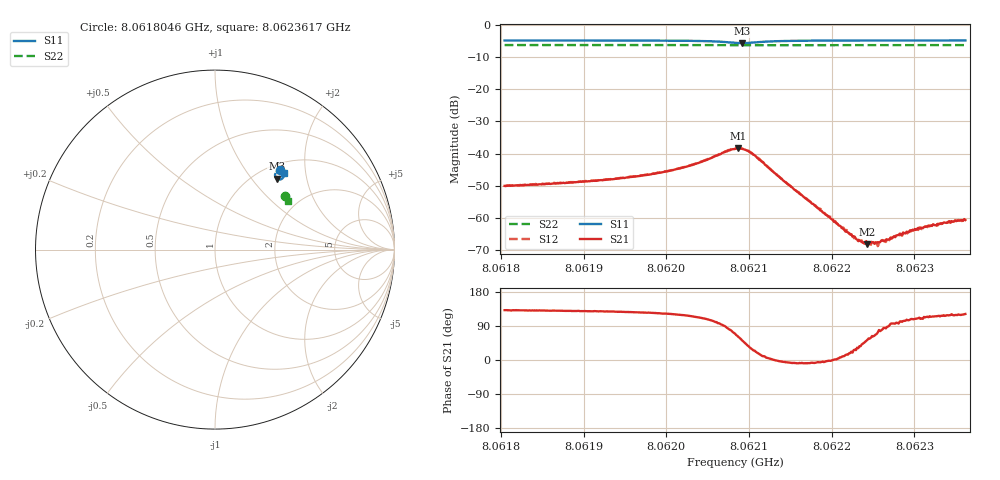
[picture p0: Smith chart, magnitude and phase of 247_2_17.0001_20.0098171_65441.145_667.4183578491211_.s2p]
#  HZ  S  RI  R  50.00
! Rohde & Schwarz Vector Network Analyzer
! Rohde-Schwarz,ZNB20-2Port,1311601062101988,3.16
! Created: UTC 3/20/2024, 11:03:07 PM
! freq[Hz]  re:S11  im:S11  re:S21  im:S21  re:S12  im:S12  re:S22  im:S22
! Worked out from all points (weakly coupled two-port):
!   401 points, 8.0618046 GHz to 8.0623617 GHz, reference 50 ohm
!   highest |S21| = -38.35 dB at 8.0620873 GHz (marker M1); lowest = -68.2 dB at 8.0622433 GHz (marker M2)
!   lowest |S11| = -5.6 dB at 8.0620915 GHz (marker M3), VSWR 3.20, Z = 61.7 + j67.3 ohm
!   |S11| at or under -10 dB: nowhere
!   |S22| runs from -6.3 to -6.2 dB; largest |S21 - S12| = 0.00094
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8.06180455e9  0.3643 0.446  -0.00207 0.00235  -0.00192 0.00252  0.3887 0.2965
8.06189787e9  0.3712 0.4401  -0.00229 0.00282  -0.00214 0.00297  0.3921 0.2919
8.06194941e9  0.3752 0.4354  -0.00248 0.00333  -0.00235 0.0035  0.3939 0.2893
8.0619912e9  0.3793 0.4299  -0.00277 0.00417  -0.00254 0.00438  0.3953 0.287
8.0620302e9  0.3829 0.4205  -0.00284 0.00592  -0.00253 0.00614  0.3966 0.2848
8.06208313e9  0.3577 0.3903  0.00407 0.0111  0.005 0.011  0.3968 0.2815
8.0620873e9  0.3503 0.3918  0.00592 0.0105  0.00655 0.0102  0.3964 0.2813
8.06209148e9  0.3434 0.3956  0.00727 0.00939  0.00787 0.00905  0.3964 0.2814
8.06210541e9  0.3345 0.4175  0.00869 0.00412  0.00884 0.00358  0.3968 0.2818
8.06214441e9  0.3565 0.4392  0.00353 -0.000369  0.00354 -0.000577  0.3993 0.2806
8.06217645e9  0.3668 0.4386  0.00164 -0.000207  0.00165 -0.000329  0.4008 0.2792
8.06222798e9  0.3753 0.435  0.00045 0.000235  0.000437 0.000169  0.4026 0.2763
8.06223774e9  0.3765 0.4343  0.000302 0.000282  0.000326 0.000244  0.4031 0.2758
8.06224331e9  0.3771 0.4339  0.000233 0.000313  0.00025 0.000308  0.4033 0.2754
8.06225166e9  0.3781 0.4335  0.000171 0.000353  0.000178 0.000376  0.4035 0.275
8.06225724e9  0.3787 0.433  7.82e-05 0.000406  0.000139 0.000371  0.4038 0.2747
8.06226977e9  0.3798 0.4321  -7.53e-06 0.00046  1.7e-05 0.000447  0.4043 0.274
8.06228091e9  0.3807 0.4315  -5.79e-05 0.000539  -8.93e-05 0.000538  0.4044 0.2737
8.06228788e9  0.3813 0.4311  -0.000132 0.000561  -6.46e-05 0.000573  0.4046 0.2733
8.06229624e9  0.3821 0.4305  -0.000198 0.000597  -0.000151 0.0006  0.405 0.2727
8.06231434e9  0.3836 0.4294  -0.000292 0.000666  -0.00027 0.00068  0.4057 0.2718
8.0623617e9  0.387 0.4266  -0.000482 0.000786  -0.000453 0.00086  0.4069 0.2694
